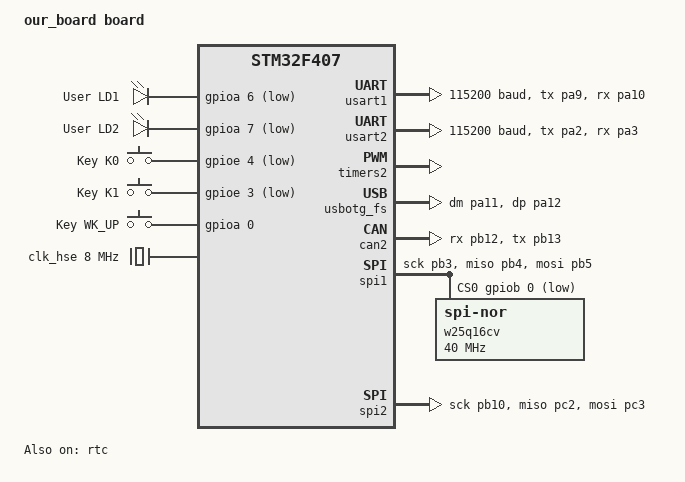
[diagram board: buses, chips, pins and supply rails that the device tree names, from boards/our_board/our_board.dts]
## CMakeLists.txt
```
cmake_minimum_required(VERSION 3.20.0)

# set(BOARD our_board)
# set(BOARD_FLASH_RUNNER jlink)


list(APPEND BOARD_ROOT ${CMAKE_CURRENT_SOURCE_DIR}) 
# find_package(Zephyr REQUIRED HINTS $ENV{ZEPHYR_BASE})

find_package(Zephyr REQUIRED)
project(my_zephyr_app)

target_sources(app PRIVATE src/main.cpp)
add_subdirectory(drivers/our_driver)
```

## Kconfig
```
menuconfig LED_SUBSYSTEM
	bool "LED Subsystem" 
	default y

if LED_SUBSYSTEM
			config APP_HEARTBEAT_PERIOD_MS 
				int "Sleep duration (ms)" 
				range 100 2000 
				default 500

	#choice for blink sleep time (250ms, 500ms, 1s, 2s) with hidden int symbol
	choice
		prompt "LED blink sleep time"
		default BLINK_SLEEP_1000MS

		config BLINK_SLEEP_250MS 
			bool "250ms (fast)"
		config BLINK_SLEEP_500MS 
			bool "500ms (normal)"
		config BLINK_SLEEP_1000MS 
			bool "1s (medium)"
		config BLINK_SLEEP_2000MS 
			bool "2s (slow)"
	endchoice
	config BLINK_SLEEP_TIME_MS # use this in code
	int # <-- No prompt = hidden!
	default 250 if BLINK_SLEEP_250MS 
	default 500 if BLINK_SLEEP_500MS
	default 1000 if BLINK_SLEEP_1000MS 
	default 2000 if BLINK_SLEEP_2000MS 
	default 0


	menuconfig LED_ADVANCED
		bool "Advanced LED settings" 
		default n

	if LED_ADVANCED
			config LED_BRIGHTNESS 
				int "LED brightness (0-100)" 
				range 0 100
				default 100

			config LED_FADE_DURATION_MS 
				int "Fade duration (ms)" 
				range 0 5000 
				default 500

	menu "Expert settings" 
		visible if LED_ADVANCED

		config LED_DEBUG 
		bool "Enable LED debugging"
		default 0
			
			config CUSTOM_BLINK_PATTERN 
		bool "Custom blink pattern"
		default 0
		
	endmenu

	endif # LED_ADVANCED
endif # LED_SUBSYSTEM
# endmenu # LED Subsystem


source "Kconfig.zephyr"
rsource "drivers/our_driver/Kconfig"
```

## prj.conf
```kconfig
CONFIG_GPIO=y
CONFIG_LOG=y
CONFIG_SHELL=y
CONFIG_SERIAL=y
CONFIG_CONSOLE=y
CONFIG_UART_CONSOLE=y

CONFIG_OUR_DRIVER=y

CONFIG_SHELL=y
CONFIG_SHELL_BACKEND_SERIAL=y
# CONFIG_SHELL_MINIMAL=Y 

CONFIG_SHELL_CMDS=y
CONFIG_SHELL_TAB=y
CONFIG_SHELL_TAB_AUTOCOMPLETION=y
CONFIG_SHELL_HISTORY=y
CONFIG_SHELL_LOG_BACKEND=y
```

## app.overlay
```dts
/ {
	aliases {
		app-led = &green_led_1; /* same node as led0 */
	};

    our_driver0: our_driver {
        compatible = "our,driver";
        status = "okay";
    };
    our_driver1: our_driver1 {
        compatible = "our,driver";
        status = "okay";
    };
};
```

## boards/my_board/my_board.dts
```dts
/*
 * Copyright (c) 2020 Intel Corporation
 *
 * SPDX-License-Identifier: Apache-2.0
 */

/dts-v1/;
#include <st/f4/stm32f407Xe.dtsi>
#include <st/f4/stm32f407v(e-g)tx-pinctrl.dtsi>
#include <zephyr/dt-bindings/input/input-event-codes.h>

/ {
	model = "my board";
	compatible = "iomico";

	chosen {
		zephyr,console = &usart1;
		zephyr,shell-uart = &usart1;
		zephyr,sram = &sram0;
		zephyr,flash = &flash0;
		zephyr,dtcm = &ccm0;
	};

	leds {
		compatible = "gpio-leds";

		green_led_1: led_1 {
			gpios = <&gpioa 6 GPIO_ACTIVE_LOW>;
			label = "User LD1";
		};
	};

	aliases {
		app-led = &green_led_1;
	};
};

&gpioa {
	status = "okay";
};

&clk_lsi {
	status = "okay";
};

&clk_hse {
	clock-frequency = <DT_FREQ_M(8)>;
	status = "okay";
};

&pll {
	div-m = <8>;
	mul-n = <336>;
	div-p = <2>;
	div-q = <7>;
	clocks = <&clk_hse>;
	status = "okay";
};

&rcc {
	clocks = <&pll>;
	clock-frequency = <DT_FREQ_M(168)>;
	ahb-prescaler = <1>;
	apb1-prescaler = <4>;
	apb2-prescaler = <2>;
};

&usart1 {
	pinctrl-0 = <&usart1_tx_pa9 &usart1_rx_pa10>;
	pinctrl-names = "default";
	current-speed = <115200>;
	status = "okay";
};

&usart2 {
	pinctrl-0 = <&usart2_tx_pa2 &usart2_rx_pa3>;
	pinctrl-names = "default";
	current-speed = <115200>;
	status = "okay";
};

&timers2 {
	status = "okay";

	pwm2: pwm {
		status = "okay";
		pinctrl-0 = <&tim2_ch1_pa0>;
		pinctrl-names = "default";
	};
};

&rtc {
	clocks = <&rcc STM32_CLOCK(APB1, 28)>,
		 <&rcc STM32_SRC_LSI RTC_SEL(2)>;
	status = "okay";
};

zephyr_udc0: &usbotg_fs {
	pinctrl-0 = <&usb_otg_fs_dm_pa11 &usb_otg_fs_dp_pa12>;
	pinctrl-names = "default";
	status = "okay";
};
```

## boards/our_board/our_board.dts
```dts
/*
 * Copyright (c) 2020 Intel Corporation
 *
 * SPDX-License-Identifier: Apache-2.0
 */

/dts-v1/;
#include <st/f4/stm32f407Xe.dtsi>
#include <st/f4/stm32f407v(e-g)tx-pinctrl.dtsi>
#include <zephyr/dt-bindings/input/input-event-codes.h>

/ {
	model = "our_board board";
	compatible = "black-stm32f407";

	chosen {
		zephyr,console = &usart1;
		zephyr,shell-uart = &usart1;
		zephyr,sram = &sram0;
		zephyr,flash = &flash0;
		zephyr,dtcm = &ccm0;
		zephyr,canbus = &can2;
	};

	leds {
		compatible = "gpio-leds";

		green_led_1: led_1 {
			gpios = <&gpioa 6 GPIO_ACTIVE_LOW>;
			label = "User LD1";
		};

		green_led_2: led_2 {
			gpios = <&gpioa 7 GPIO_ACTIVE_LOW>;
			label = "User LD2";
		};
	};

	gpio_keys {
		compatible = "gpio-keys";

		user_button_0: K0 {
			label = "Key K0";
			gpios = <&gpioe 4 GPIO_ACTIVE_LOW>;
			zephyr,code = <INPUT_KEY_0>;
		};

		user_button_1: K1 {
			label = "Key K1";
			gpios = <&gpioe 3 GPIO_ACTIVE_LOW>;
			zephyr,code = <INPUT_KEY_1>;
		};

		user_button_UP: K_UP {
			label = "Key WK_UP";
			gpios = <&gpioa 0 GPIO_ACTIVE_HIGH>;
			zephyr,code = <INPUT_KEY_UP>;
		};
	};

	aliases {
		led0 = &green_led_1;
		led1 = &green_led_2;
		app-led = &green_led_1; /* same node as led0 */
		sw0 = &user_button_UP;
	};
};

&clk_lsi {
	status = "okay";
};

&clk_hse {
	clock-frequency = <DT_FREQ_M(8)>;
	status = "okay";
};

&pll {
	div-m = <8>;
	mul-n = <336>;
	div-p = <2>;
	div-q = <7>;
	clocks = <&clk_hse>;
	status = "okay";
};

&rcc {
	clocks = <&pll>;
	clock-frequency = <DT_FREQ_M(168)>;
	ahb-prescaler = <1>;
	apb1-prescaler = <4>;
	apb2-prescaler = <2>;
};

&usart1 {
	pinctrl-0 = <&usart1_tx_pa9 &usart1_rx_pa10>;
	pinctrl-names = "default";
	current-speed = <115200>;
	status = "okay";
};

&usart2 {
	pinctrl-0 = <&usart2_tx_pa2 &usart2_rx_pa3>;
	pinctrl-names = "default";
	current-speed = <115200>;
	status = "okay";
};

&timers2 {
	status = "okay";

	pwm2: pwm {
		status = "okay";
		pinctrl-0 = <&tim2_ch1_pa0>;
		pinctrl-names = "default";
	};
};

&rtc {
	clocks = <&rcc STM32_CLOCK(APB1, 28)>,
		 <&rcc STM32_SRC_LSI RTC_SEL(2)>;
	status = "okay";
};

zephyr_udc0: &usbotg_fs {
	pinctrl-0 = <&usb_otg_fs_dm_pa11 &usb_otg_fs_dp_pa12>;
	pinctrl-names = "default";
	status = "okay";
};

&can1 {
	pinctrl-0 = <&can1_rx_pd0 &can1_tx_pd1>;
	pinctrl-names = "default";
	status = "disabled";
};

&can2 {
	pinctrl-0 = <&can2_rx_pb12 &can2_tx_pb13>;
	pinctrl-names = "default";
	status = "okay";
};

&spi1 {
	pinctrl-0 = <&spi1_sck_pb3 &spi1_miso_pb4 &spi1_mosi_pb5>;
	pinctrl-names = "default";
	status = "okay";
	cs-gpios = <&gpiob 0 GPIO_ACTIVE_LOW>;

	w25q16cv: w25q16cv@0 {
		compatible = "jedec,spi-nor";
		reg = <0>;
		spi-max-frequency = <40000000>;
		size = <0x1000000>;
		has-dpd;
		t-enter-dpd = <4000>;
		t-exit-dpd = <25000>;
		jedec-id = [ef 40 15];
	};
};

&spi2 {
	pinctrl-0 = <&spi2_sck_pb10 &spi2_miso_pc2 &spi2_mosi_pc3>;
	pinctrl-names = "default";
	status = "okay";
};
```

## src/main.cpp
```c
// #include <zephyr/drivers/gpio.h>
#include <zephyr/kernel.h>
#include <zephyr/logging/log.h>
#include <zephyr/drivers/sensor.h>
// #include <zephyr/shell/shell.h>
// #include "../drivers/our_driver/our_driver_task2.h"

// #define SLEEP_TIME_MS 500

LOG_MODULE_REGISTER(main, LOG_LEVEL_INF);

namespace
{
    void turn_on_led()
    {
        const struct device *driver = DEVICE_DT_GET(DT_NODELABEL(our_driver0));
        struct sensor_value val;
        auto ret = sensor_sample_fetch(driver);
        LOG_INF("Channel ret: %d\n", ret);
    }

    void turn_off_led()
    {
        const struct device *driver = DEVICE_DT_GET(DT_NODELABEL(our_driver0));
        struct sensor_value val;
        auto ret = sensor_channel_get(driver, SENSOR_CHAN_AMBIENT_TEMP, &val);
        LOG_INF("Channel ret: %d\n", ret);
    }
}

int main(void)
{
    uint32_t counter = 0;

    while (1)
    {
        // turn_on_led();
        // k_msleep(CONFIG_APP_HEARTBEAT_PERIOD_MS);

        // turn_off_led();
        // k_msleep(CONFIG_APP_HEARTBEAT_PERIOD_MS);

        // toggle_led(&counter); // calling from our_driver_task2.h interface, implemented in our_driver.c

        // LOG_INF("counter: %d\n", counter);
        k_msleep(CONFIG_APP_HEARTBEAT_PERIOD_MS);
    }

    return 0;
}
```
